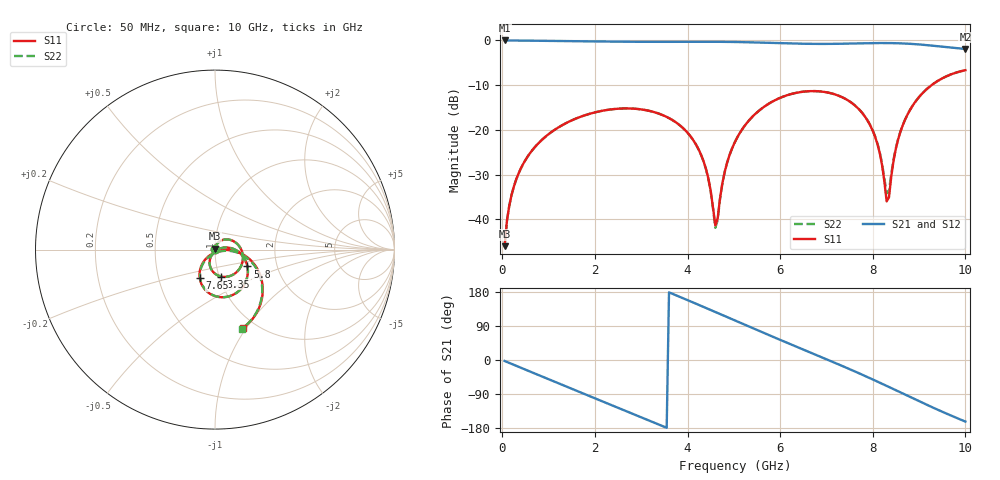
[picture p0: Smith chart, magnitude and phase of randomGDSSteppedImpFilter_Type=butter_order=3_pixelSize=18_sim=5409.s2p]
! freq	dB(S11)	phase(S11)	dB(S12)	phase(S12)
!  dB(S21)	phase(S21)	dB(S22)	phase(S22)
!S-par simulation data
#  GHz  S  DB  R 50
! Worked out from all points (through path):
!   200 points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, 50 MHz to 10 GHz, reference 50 ohm
!   highest |S21| = 0.00 dB at 50 MHz (marker M1); lowest = -1.9 dB at 10 GHz (marker M2)
!   group delay of S21, straight-line fit = 145 ps
!   lowest |S11| = -45.9 dB at 50 MHz (marker M3), VSWR 1.01, Z = 50.1 + j0.5 ohm
!   |S11| at or under -10 dB: start of sweep to 9.268 GHz
!   |S22| runs from -46.0 to -6.7 dB; largest |S21 - S12| = 0
!   S11 on the Smith chart (normalised r, x): 50 MHz: 1.00, +0.01; 3.35 GHz: 1.02, -0.31; 5.8 GHz: 1.41, -0.27; 7.65 GHz: 0.80, -0.27; 10 GHz: 0.86, -0.97
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0.05  -45.95 82.3  -0.00 -2.6  -0.00 -2.6  -45.96 82.8
0.2  -34.53 77.5  -0.02 -10.2  -0.02 -10.2  -34.53 77.5
0.5  -26.71 63.8  -0.04 -25.4  -0.04 -25.4  -26.72 63.8
1.75  -16.83 1.9  -0.19 -88.5  -0.19 -88.5  -16.83 2.0
2.5  -15.26 -35.1  -0.28 -126.1  -0.28 -126.1  -15.25 -35.1
3.35  -16.24 -76.9  -0.32 -168.8  -0.32 -168.8  -16.24 -76.9
3.4  -16.42 -79.3  -0.32 -171.3  -0.32 -171.3  -16.42 -79.4
4.25  -24.57 -117.6  -0.29 145.1  -0.29 145.1  -24.59 -117.9
4.45  -30.87 -119.4  -0.29 134.6  -0.29 134.6  -30.93 -120.2
4.6  -41.31 -69.3  -0.30 126.7  -0.30 126.7  -41.85 -70.0
4.8  -29.48 12.5  -0.31 116.2  -0.31 116.2  -29.52 13.6
5.05  -22.13 7.5  -0.35 103.0  -0.35 103.0  -22.14 8.1
5.8  -13.85 -27.4  -0.55 63.5  -0.55 63.5  -13.85 -27.0
6.7  -11.31 -71.7  -0.77 17.3  -0.77 17.3  -11.31 -71.3
7.65  -14.85 -118.0  -0.67 -32.1  -0.67 -32.1  -14.83 -117.0
8.05  -21.51 -134.2  -0.59 -54.1  -0.59 -54.1  -21.42 -131.7
8.3  -35.97 -90.6  -0.58 -68.3  -0.58 -68.3  -34.17 -86.7
8.35  -35.03 -36.7  -0.59 -71.2  -0.59 -71.2  -33.54 -42.9
8.5  -24.10 -2.1  -0.62 -79.9  -0.62 -79.9  -23.97 -5.8
8.8  -15.61 -10.7  -0.75 -97.3  -0.75 -97.3  -15.59 -12.2
9.4  -9.06 -41.0  -1.29 -131.1  -1.29 -131.1  -9.06 -41.7
10  -6.65 -70.7  -1.91 -162.5  -1.91 -162.5  -6.65 -71.2
